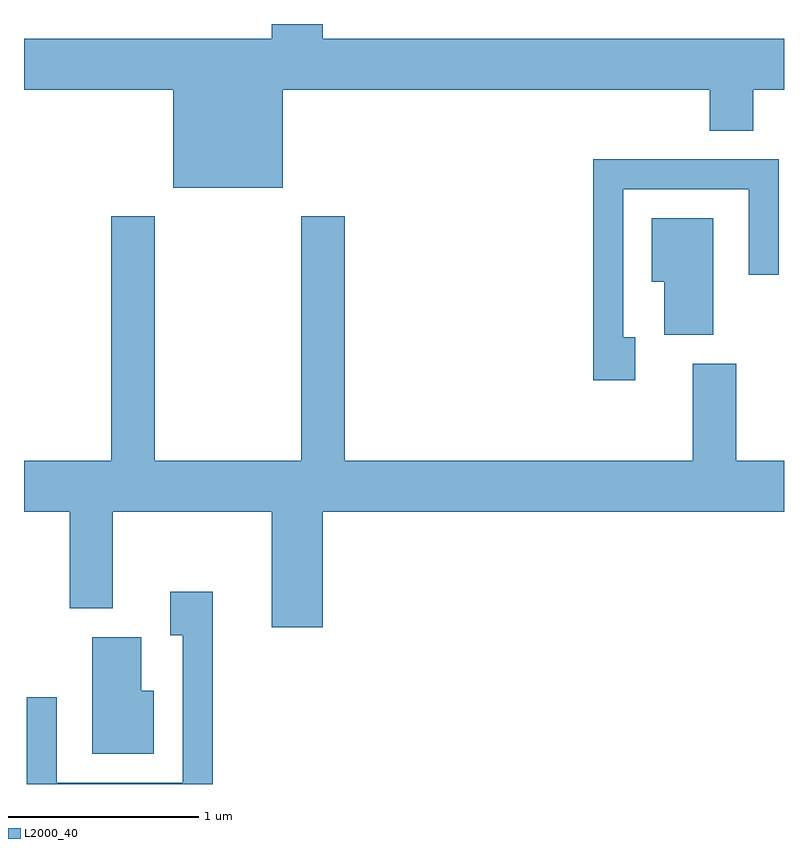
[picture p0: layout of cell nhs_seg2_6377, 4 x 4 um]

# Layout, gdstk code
import gdstk
lib = gdstk.Library(unit=1e-6, precision=1e-09)
def P(c, l, *ps):  # polygons
    for p in ps: c.add(gdstk.Polygon(p, *l))
L2000_40 = (2000, 40)

nhs_seg2_6377 = lib.new_cell('nhs_seg2_6377')
P(nhs_seg2_6377, L2000_40, [(374.974,1019.456),(377.221,1019.456),(377.221,1019.241),(377.449,1019.241),(377.449,1019.456),(377.611,1019.456),(377.611,1019.724),(375.184,1019.724),(375.184,1019.802),(374.916,1019.802),(374.916,1019.724),(373.611,1019.724),(373.611,1019.456),(374.396,1019.456),(374.396,1018.941),(374.974,1018.941)],
  [(376.829,1018.154),(376.764,1018.154),(376.764,1018.931),(377.426,1018.931),(377.426,1018.483),(377.584,1018.483),(377.584,1019.089),(376.606,1019.089),(376.606,1017.926),(376.829,1017.926)],
  [(375.184,1017.236),(377.611,1017.236),(377.611,1017.504),(377.359,1017.504),(377.359,1018.014),(377.131,1018.014),(377.131,1017.504),(375.299,1017.504),(375.299,1018.789),(375.071,1018.789),(375.071,1017.504),(374.299,1017.504),(374.299,1018.789),(374.071,1018.789),(374.071,1017.504),(373.611,1017.504),(373.611,1017.236),(373.851,1017.236),(373.851,1016.726),(374.079,1016.726),(374.079,1017.236),(374.916,1017.236),(374.916,1016.626),(375.184,1016.626)],
  [(377.239,1018.779),(376.916,1018.779),(376.916,1018.446),(376.981,1018.446),(376.981,1018.166),(377.239,1018.166)],
  [(374.604,1016.814),(374.381,1016.814),(374.381,1016.586),(374.446,1016.586),(374.446,1015.809),(373.784,1015.809),(373.784,1016.258),(373.626,1016.258),(373.626,1015.802),(374.604,1015.802)],
  [(374.294,1016.294),(374.229,1016.294),(374.229,1016.574),(373.971,1016.574),(373.971,1015.961),(374.294,1015.961)])

lib.write_gds('nhs_seg2_6377.gds')
